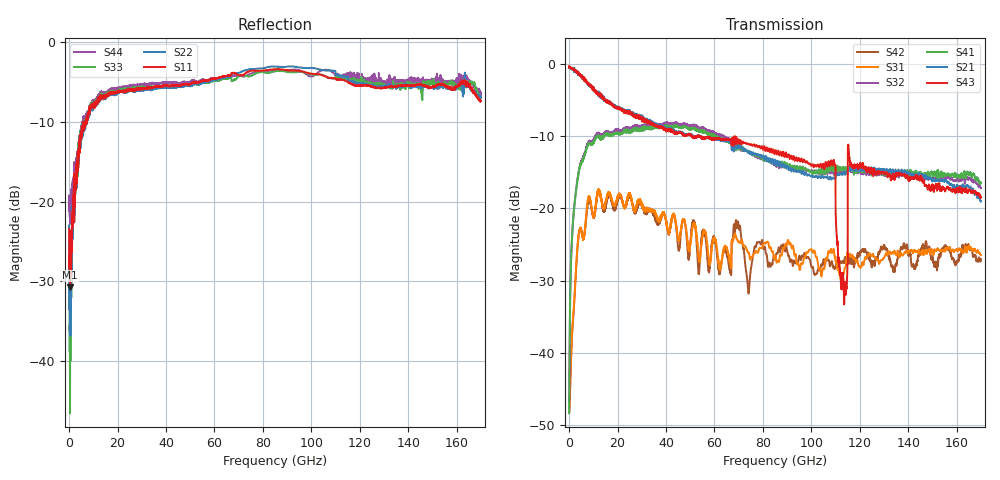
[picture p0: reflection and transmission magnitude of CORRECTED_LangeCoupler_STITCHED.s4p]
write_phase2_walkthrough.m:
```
function write_phase2_walkthrough(config, results)
%WRITE_PHASE2_WALKTHROUGH Write implementation-facing notes for Phase II.

lines = {};
lines{end + 1} = 'Phase II Calibration Walkthrough';
lines{end + 1} = '==============================';
lines{end + 1} = '';
lines{end + 1} = sprintf('Root folder: %s', config.script_dir);
lines{end + 1} = sprintf('Raw standards folder: %s', config.phase2_raw_dir);
lines{end + 1} = sprintf('Switch terms folder: %s', config.phase2_switch_dir);
lines{end + 1} = sprintf('DUT folder: %s', config.phase2_dut_dir);
lines{end + 1} = '';
lines{end + 1} = 'Processing order';
lines{end + 1} = '----------------';
lines{end + 1} = '1. Discover Phase II raw standards, switch-term CSVs, and DUTs by band.';
lines{end + 1} = '2. Load stitched Phase I Open/Short/Load references from the Phase I outputs folder.';
lines{end + 1} = '3. For each reference pair, extract the active-pair 2x2 submatrix from the measured .s4p.';
lines{end + 1} = sprintf('4. Parse the four wave CSV files for that pair, validate the filename semantics against the active pair, and compute forward/reverse switch ratios using %s.', config.switch_ratio_mode);
lines{end + 1} = '5. Apply switch correction to the active-pair through and the relevant one-port standard submatrices.';
lines{end + 1} = '6. Solve an 8-term SOLR model for that pair using the stitched Phase I reflection standards as the downstream references.';
lines{end + 1} = '7. Correct the active-pair submatrices of the DUT using the pair model, then assemble the corrected 4-port DUT by averaging diagonal estimates and inserting pair-specific off-diagonal terms.';
lines{end + 1} = '8. Correct the hold-out DIAG structures with the same pair model for validation.';
lines{end + 1} = '9. Stitch corrected DUT and hold-out outputs across the three bands for reporting.';
lines{end + 1} = '';
lines{end + 1} = 'Important implementation details';
lines{end + 1} = '-------------------------------';
lines{end + 1} = 'Reciprocal-thru files are treated as active-pair only. The named pair submatrix is used; the remaining 4-port entries are ignored.';
lines{end + 1} = 'The orthogonal ARC measurements are the calibration references. The DIAG measurements from PhaseII DUTs are held out for validation.';
lines{end + 1} = 'No GLOBALWIN references are used in Phase II. Only FINALFIT_*_STITCHED_FINAL.mat from Phase I are used as the standard definitions.';
lines{end + 1} = 'DIAG hold-outs do not have dedicated switch-wave files in the provided dataset; they are corrected with the switch ratios from the corresponding ARC pair solve.';
lines{end + 1} = 'The switch-term loader enforces the pair semantics a_jS_i / b_jS_i for forward and a_iS_j / b_iS_j for reverse before any ratios are formed.';
lines{end + 1} = '';
lines{end + 1} = 'Files to inspect first';
lines{end + 1} = '---------------------';
lines{end + 1} = sprintf('1. %s', fullfile(config.mat_dir, 'PHASE2_RESULTS_ALL.mat'));
lines{end + 1} = sprintf('2. %s', fullfile(config.note_dir, 'PhaseII_Summary.txt'));
lines{end + 1} = sprintf('3. %s', fullfile(config.figure_dir, 'PhaseII_DUT_Diagnostics_67-115.jpg'));
lines{end + 1} = sprintf('4. %s', fullfile(config.touchstone_dir, 'CORRECTED_LangeCoupler_STITCHED.s4p'));
lines{end + 1} = '';

for idxBand = 1:numel(results.bands)
    bandResult = results.bands{idxBand};
    refMetricValues = arrayfun(@(x) x.reference_metrics.mean_recip_mismatch, bandResult.reference_pair_results);
    lines{end + 1} = sprintf('Band %s', bandResult.band);
    lines{end + 1} = sprintf('  DUT file: %s', bandResult.dut.file);
    lines{end + 1} = sprintf('  Median reciprocity mismatch of used references: %.4g', median(refMetricValues, 'omitnan'));
    lines{end + 1} = sprintf('  Hold-out count: %d', numel(bandResult.holdout_results));
    lines{end + 1} = '';
end

write_text_file(config.walkthrough_filename, lines);
write_text_file(fullfile(config.note_dir, 'PhaseII_Walkthrough.txt'), lines);
end

function write_text_file(filePath, lines)
[outDir, ~, ~] = fileparts(filePath);
if ~isempty(outDir) && ~exist(outDir, 'dir')
    mkdir(outDir);
end
fid = fopen(filePath, 'w');
cleanup = onCleanup(@() fclose(fid));
for idx = 1:numel(lines)
    fprintf(fid, '%s\n', lines{idx});
end
end
```
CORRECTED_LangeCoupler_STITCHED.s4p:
! Generated by Phase II Calibration
# Hz S RI R 50
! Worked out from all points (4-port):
!   4072 points, 10 MHz to 170 GHz, reference 50 ohm
!   strongest paths, dB at 10 MHz, 42.63 GHz, 87.93 GHz, 128.5 GHz, 170 GHz:
!     S43: -0.3, -9.3, -12.8, -15.1, -18.5
!     S21: -0.6, -9.1, -14.0, -14.9, -19.1
!     S41: -48.4, -8.8, -13.6, -15.2, -16.5
!     S32: -48.0, -8.5, -14.3, -15.3, -17.2
!     S31: -48.2, -21.0, -26.3, -27.3, -26.5
!     S42: -48.3, -21.1, -25.4, -25.9, -27.1
!   lowest |S11| = -30.7 dB at 428.7 MHz (marker M1), VSWR 1.06, Z = 47.2 - j0.632 ohm
!   |S11| at or under -10 dB: start of sweep to 6.205 GHz; 6.208 GHz to 6.876 GHz (668.1 MHz wide, 10.2 % of centre); 6.877 GHz to 6.978 GHz (101.2 MHz wide, 1.46 % of centre)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
1e7  -0.0318 0.0594  0.9354 0.00515  -0.00391 0.000237  0.00382 0.000415
     0.9362 0.00518  -0.0415 0.0575  0.00387 0.00035  -0.00383 0.000225
     -0.00389 0.000269  0.00396 0.000419  0.0186 0.052  0.9597 0.00674
     0.0038 0.00039  -0.00385 0.000208  0.9605 0.00491  -0.0804 0.0615
4.286875e8  -0.0283 -0.00668  0.9339 -0.0698  -0.00425 0.00436  0.0059 0.0229
            0.9341 -0.0701  -0.0206 -0.00265  0.00615 0.0233  -0.00415 0.00431
            -0.00426 0.00436  0.00613 0.0233  0.000824 0.0128  0.9368 -0.0619
            0.00591 0.023  -0.00417 0.0043  0.9369 -0.0589  -0.0895 -0.00153
1.7e11  -0.3326 -0.2695  0.0378 -0.1048  0.0248 0.0404  -0.1433 -0.0436
        0.0367 -0.1053  -0.3744 -0.2522  -0.1268 -0.0507  0.0224 0.038
        0.023 0.0415  -0.1245 -0.0579  -0.4074 -0.1932  0.0845 0.081
        -0.1442 -0.042  0.0224 0.0383  -0.1192 0.00636  -0.357 -0.2999
